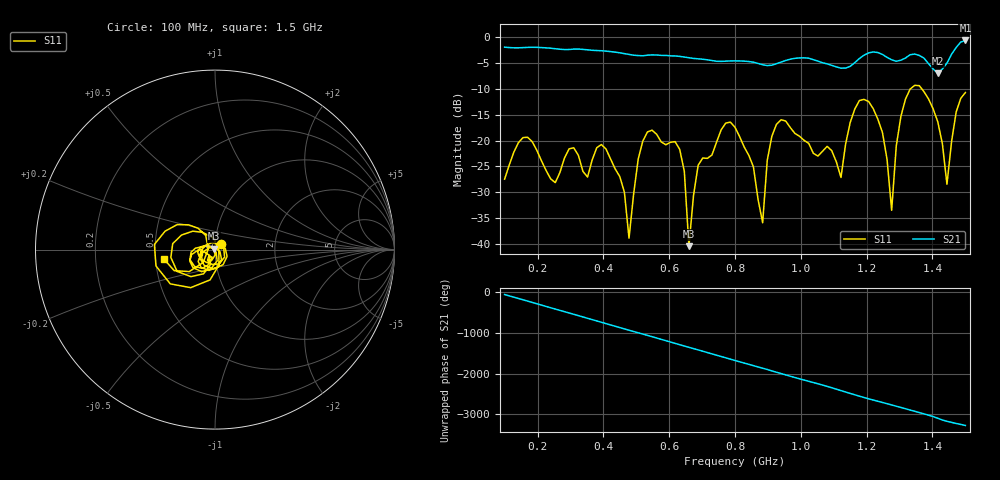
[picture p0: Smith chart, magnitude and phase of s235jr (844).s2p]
! NanoVNA-App
! Date: 2025-09-25 15:10:44
! Start: 100MHz Stop: 1,5GHz Points: 101
! S-Parameter data: F S11 S21 S12 S22
# Hz S RI R 50
!  Frequency  S11_Real  S11_Imag  S21_Real  S21_Imag  S12_Real  S12_Imag  S22_Real  S22_Imag
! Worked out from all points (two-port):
!   101 points, 100 MHz to 1.5 GHz, reference 50 ohm
!   highest |S21| = -0.66 dB at 1.5 GHz (marker M1); lowest = -7.0 dB at 1.416 GHz (marker M2)
!   |S21| within 3 dB of the highest: start of sweep to 618.3 MHz; 1.189 GHz to 1.255 GHz (66.73 MHz wide, 5.46 % of centre) (the widest 2 of 4)
!   lowest |S11| = -40.4 dB at 660 MHz (marker M3), VSWR 1.02, Z = 49.2 + j0.54 ohm
!   |S11| at or under -10 dB: start of sweep to 1.333 GHz; 1.367 GHz to end of sweep
!   S12 and S22 are empty: the file has one direction only
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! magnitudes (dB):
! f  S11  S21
! 100 MHz  -27.5  -2.0
! 156 MHz  -19.4  -2.0
! 338 MHz  -26.0  -2.4
! 408 MHz  -21.6  -2.7
! 478 MHz  -38.9  -3.4
! 520 MHz  -20.1  -3.6
! 576 MHz  -20.3  -3.5
! 632 MHz  -21.7  -3.7
! 660 MHz  -40.4  -4.0
! 688 MHz  -24.8  -4.2
! 800 MHz  -17.4  -4.6
! 884 MHz  -35.9  -5.3
! 926 MHz  -16.9  -5.2
! 1.038 GHz  -22.5  -4.4
! 1.122 GHz  -27.1  -6.0
! 1.206 GHz  -12.5  -3.1
! 1.248 GHz  -18.4  -3.4
! 1.276 GHz  -33.5  -4.4
! 1.332 GHz  -10.1  -3.4
! 1.416 GHz  -16.4  -7.0
! 1.444 GHz  -28.5  -5.1
! 1.5 GHz  -10.7  -0.7
